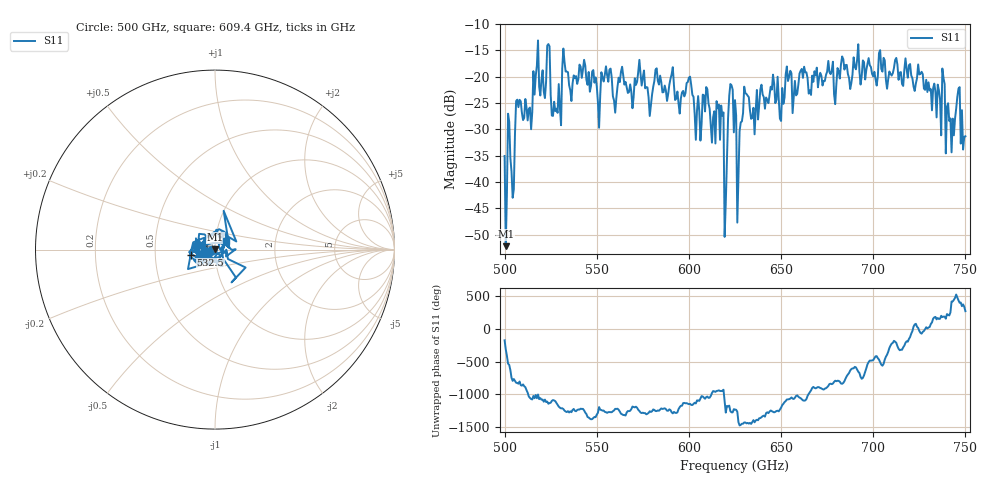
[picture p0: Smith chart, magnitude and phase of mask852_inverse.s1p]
!Created with skrf (http://scikit-rf.org).
# GHz S MA R 50.0
!freq magS11 angS11
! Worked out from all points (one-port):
!   401 points, 500 GHz to 750 GHz, reference 50 ohm
!   lowest |S11| = -52.2 dB at 500.6 GHz (marker M1), VSWR 1.00, Z = 50.2 + j0.181 ohm
!   |S11| at or under -10 dB: start of sweep to end of sweep
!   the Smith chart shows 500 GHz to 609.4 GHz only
!   S11 on the Smith chart (normalised r, x): 500 GHz: 0.97, -0.00; 532.5 GHz: 0.76, -0.04; 609.4 GHz: 1.13, +0.11
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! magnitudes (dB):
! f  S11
! 500 GHz  -35.0
! 500.6 GHz  -52.2
! 504.4 GHz  -43.0
! 507.5 GHz  -25.8
! 513.8 GHz  -25.8
! 516.9 GHz  -19.9
! 523.8 GHz  -13.8
! 526.9 GHz  -24.7
! 531.2 GHz  -18.5
! 532.5 GHz  -17.2
! 550.6 GHz  -24.8
! 562.5 GHz  -21.0
! 593.8 GHz  -22.8
! 609.4 GHz  -21.9
! 617.5 GHz  -25.5
! 619.4 GHz  -50.4
! 620.6 GHz  -36.0
! 622.5 GHz  -21.4
! 625 GHz  -24.4
! 627.5 GHz  -30.3
! 631.2 GHz  -23.3
! 635 GHz  -25.9
! 656.2 GHz  -26.9
! 687.5 GHz  -22.3
! 718.8 GHz  -20.2
! 742.5 GHz  -34.4
! 745.6 GHz  -23.8
! 750 GHz  -31.3
